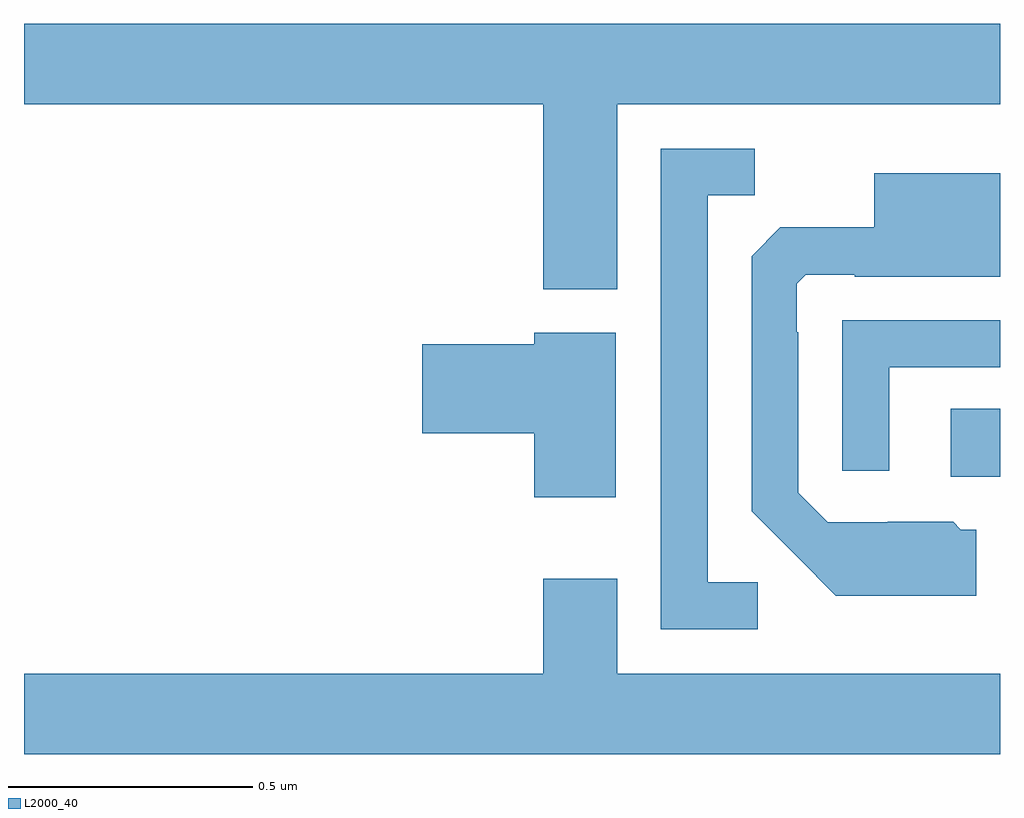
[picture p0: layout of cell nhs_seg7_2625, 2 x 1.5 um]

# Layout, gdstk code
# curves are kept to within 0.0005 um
import gdstk
lib = gdstk.Library(unit=1e-6, precision=1e-09)
def R(c, l, rs):  # rectangles x0, y0, x1, y1
    for r in rs: c.add(gdstk.rectangle(r[:2], r[2:], *l))
def P(c, l, *ps):  # polygons
    for p in ps: c.add(gdstk.Polygon(p, *l))
L2000_40 = (2000, 40)

nhs_seg7_2625 = lib.new_cell('nhs_seg7_2625')
R(nhs_seg7_2625, L2000_40, [(148.899,1067.784,149,1067.924)])
P(nhs_seg7_2625, L2000_40, [(148.216,1068.548),(149,1068.548),(149,1068.712),(147,1068.712),(147,1068.548),(148.064,1068.548),(148.064,1068.168),(148.216,1068.168)],
  [(148.504,1067.568),(148.401,1067.568),(148.401,1068.361),(148.497,1068.361),(148.497,1068.456),(148.305,1068.456),(148.305,1067.472),(148.504,1067.472)],
  [(148.951,1067.676),(148.92,1067.676),(148.904,1067.692),(148.77,1067.692),(148.77,1067.691),(148.647,1067.691),(148.587,1067.751),(148.587,1068.08),(148.584,1068.08),(148.584,1068.18),(148.602,1068.198),(148.702,1068.198),(148.702,1068.194),(149,1068.194),(149,1068.406),(148.742,1068.406),(148.742,1068.295),(148.55,1068.295),(148.491,1068.236),(148.491,1067.714),(148.663,1067.54),(148.951,1067.54)],
  [(148.773,1068.009),(149,1068.009),(149,1068.105),(148.677,1068.105),(148.677,1067.796),(148.773,1067.796)],
  [(148.213,1068.079),(148.046,1068.079),(148.046,1068.056),(147.816,1068.056),(147.816,1067.873),(148.046,1067.873),(148.046,1067.742),(148.213,1067.742)],
  [(149,1067.38),(148.216,1067.38),(148.216,1067.575),(148.064,1067.575),(148.064,1067.38),(147,1067.38),(147,1067.216),(149,1067.216)])

lib.write_gds('nhs_seg7_2625.gds')
